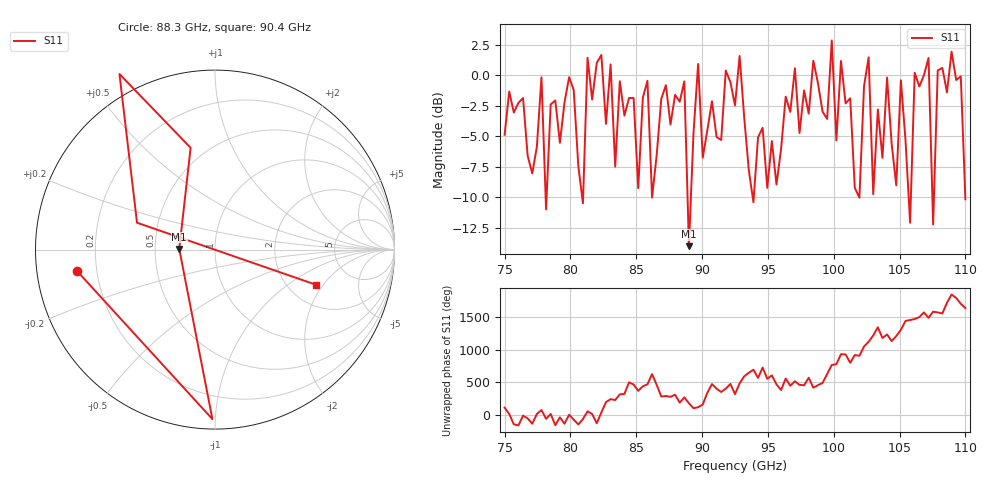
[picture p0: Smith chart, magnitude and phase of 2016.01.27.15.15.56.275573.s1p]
!Created with skrf (http://scikit-rf.org).
# GHz S RI R 50.0
!freq ReS11 ImS11
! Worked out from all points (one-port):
!   101 points, 75 GHz to 110 GHz, reference 50 ohm
!   lowest |S11| = -14.0 dB at 89 GHz (marker M1), VSWR 1.50, Z = 33.4 + j0.239 ohm
!   |S11| at or under -10 dB: 78.11794 GHz to 78.19034 GHz (72.41 MHz wide, 0.0926 % of centre); 80.89259 GHz to 80.96462 GHz (72.03 MHz wide, 0.089 % of centre); 86.19921 GHz to 86.20217 GHz (2.96 MHz wide, 0.00343 % of centre) (the widest 3 of 9)
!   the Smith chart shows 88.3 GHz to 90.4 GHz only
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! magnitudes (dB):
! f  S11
! 75 GHz  -4.9
! 77.8 GHz  -0.2
! 78.15 GHz  -11.0
! 79.55 GHz  -2.2
! 80.95 GHz  -10.5
! 81.3 GHz  1.4
! 83.75 GHz  -0.5
! 85.15 GHz  -9.3
! 85.85 GHz  -0.4
! 86.2 GHz  -10.0
! 88.3 GHz  -2.2
! 89 GHz  -14.0
! 89.7 GHz  0.9
! 92.5 GHz  -2.5
! 93.9 GHz  -10.4
! 97.05 GHz  0.6
! 101.2 GHz  -1.9
! 102 GHz  -10.0
! 102.7 GHz  1.5
! 103 GHz  -9.7
! 105.1 GHz  -0.4
! 105.8 GHz  -12.1
! 106.2 GHz  0.2
! 107.2 GHz  1.4
! 107.5 GHz  -12.2
! 107.9 GHz  0.4
! 109 GHz  1.9
! 110 GHz  -10.2
